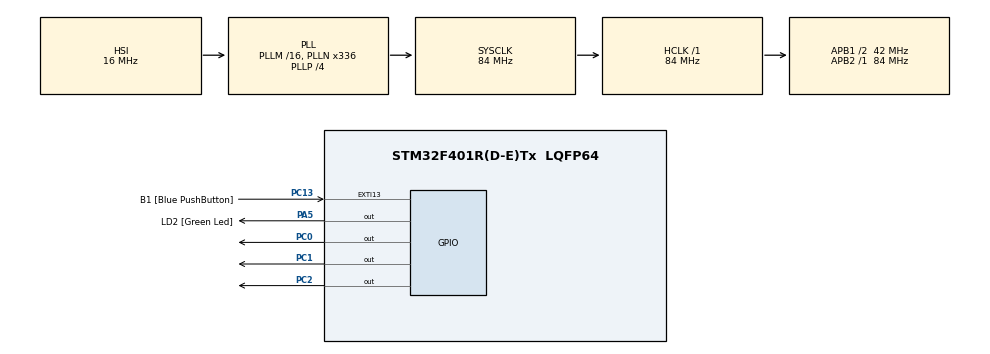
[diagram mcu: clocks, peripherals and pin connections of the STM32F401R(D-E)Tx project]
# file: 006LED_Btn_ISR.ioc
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Mcu.Family=STM32F4
Mcu.Name=STM32F401R(D-E)Tx
Mcu.Package=LQFP64
NVIC.EXTI15_10_IRQn=true\:6\:0\:true\:false\:true\:true\:true\:true
NVIC.PriorityGroup=NVIC_PRIORITYGROUP_4
NVIC.TIM2_IRQn=true\:0\:0\:false\:false\:true\:false\:true\:true
NVIC.TimeBase=TIM2_IRQn
NVIC.TimeBaseIP=TIM2
PA13.GPIO_Label=TMS
PA13.Signal=SYS_JTMS-SWDIO
PA14.GPIO_Label=TCK
PA14.Signal=SYS_JTCK-SWCLK
PA2.GPIO_Label=USART_TX
PA2.GPIO_Mode=GPIO_MODE_AF_PP
PA2.GPIO_PuPd=GPIO_NOPULL
PA2.GPIO_Speed=GPIO_SPEED_FREQ_LOW
PA2.Signal=USART2_TX
PA3.GPIO_Label=USART_RX
PA3.GPIO_Mode=GPIO_MODE_AF_PP
PA3.GPIO_PuPd=GPIO_NOPULL
PA3.GPIO_Speed=GPIO_SPEED_FREQ_LOW
PA3.Signal=USART2_RX
PA5.GPIO_Label=LD2 [Green Led]
PA5.GPIO_Mode=GPIO_MODE_OUTPUT_PP
PA5.GPIO_PuPd=GPIO_NOPULL
PA5.GPIO_Speed=GPIO_SPEED_FREQ_LOW
PA5.Signal=GPIO_Output
PB3.GPIO_Label=SWO
PB3.Signal=SYS_JTDO-SWO
PC0.Signal=GPIO_Output
PC1.Signal=GPIO_Output
PC13-ANTI_TAMP.GPIO_Label=B1 [Blue PushButton]
PC13-ANTI_TAMP.GPIO_ModeDefaultEXTI=GPIO_MODE_IT_FALLING
PC13-ANTI_TAMP.GPIO_PuPd=GPIO_NOPULL
PC13-ANTI_TAMP.Signal=GPXTI13
PC14-OSC32_IN.Signal=RCC_OSC32_IN
PC15-OSC32_OUT.Signal=RCC_OSC32_OUT
PC2.Signal=GPIO_Output
PH0\ -\ OSC_IN.Signal=RCC_OSC_IN
PH1\ -\ OSC_OUT.Signal=RCC_OSC_OUT
ProjectManager.HeapSize=0x200
ProjectManager.StackSize=0x400
ProjectManager.TargetToolchain=STM32CubeIDE
RCC.AHBFreq_Value=84000000
RCC.APB1CLKDivider=RCC_HCLK_DIV2
RCC.APB1Freq_Value=42000000
RCC.APB1TimFreq_Value=84000000
RCC.APB2Freq_Value=84000000
RCC.APB2TimFreq_Value=84000000
RCC.CortexFreq_Value=84000000
RCC.HCLKFreq_Value=84000000
RCC.HSE_VALUE=8000000
RCC.HSI_VALUE=16000000
RCC.LSE_VALUE=32768
RCC.PLLN=336
RCC.PLLP=RCC_PLLP_DIV4
RCC.PLLQ=7
RCC.SYSCLKFreq_VALUE=84000000
RCC.SYSCLKSource=RCC_SYSCLKSOURCE_PLLCLK
RCC.VCOOutputFreq_Value=336000000
VP_SYS_VS_tim2.Mode=TIM2
board=NUCLEO-F401RE

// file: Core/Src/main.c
/* USER CODE BEGIN Header */
/**
  ******************************************************************************
  * @file           : main.c
  * @brief          : Main program body
  ******************************************************************************
  * @attention
  *
  * Copyright (c) 2026 STMicroelectronics.
  * All rights reserved.
  *
  * This software is licensed under terms that can be found in the LICENSE file
  * in the root directory of this software component.
  * If no LICENSE file comes with this software, it is provided AS-IS.
  *
  ******************************************************************************
  */
/* USER CODE END Header */
#include "main.h"

/* USER CODE BEGIN Includes */
#include <stdio.h>
#include "FreeRTOS.h"
#include "task.h"
/* USER CODE END Includes */

/* USER CODE BEGIN PD */
#define DWT_CTRL	(*(volatile uint32_t*)0xE0001000)
/* USER CODE END PD */

void SystemClock_Config(void);
static void MX_GPIO_Init(void);
/* USER CODE BEGIN PFP */
static void led_green_handler(void* parameters);
static void led_orange_handler(void* parameters);
static void led_red_handler(void* parameters);
//static void button_handler(void* parameters);

extern void SEGGER_UART_init(uint32_t);

TaskHandle_t ledg_task_handle;
TaskHandle_t ledo_task_handle;
TaskHandle_t ledr_task_handle;
TaskHandle_t btn_task_handle;

TaskHandle_t volatile next_task_handle = NULL;
/* USER CODE END PFP */

int main(void)
{

  /* USER CODE BEGIN 1 */
	BaseType_t status;
  /* USER CODE END 1 */

  /* MCU Configuration--------------------------------------------------------*/

  /* Reset of all peripherals, Initializes the Flash interface and the Systick. */
  HAL_Init();

  /* Configure the system clock */
  SystemClock_Config();

  /* Initialize all configured peripherals */
  MX_GPIO_Init();
  /* USER CODE BEGIN 2 */

  SEGGER_UART_init(500000);

     //CYCLCNT enable
     DWT_CTRL |= ( 1 << 0);

     //SEGGER_UART_init(500000);

     SEGGER_SYSVIEW_Conf();

     status = xTaskCreate(led_green_handler, "LED_green_task", 200, NULL, 3, &ledg_task_handle);

     configASSERT(status == pdPASS);

     next_task_handle = ledg_task_handle;

     status = xTaskCreate(led_orange_handler, "LED_orange_task", 200, NULL, 2, &ledo_task_handle);

      configASSERT(status == pdPASS);

     status = xTaskCreate(led_red_handler, "LED_red_task", 200,NULL, 1, &ledr_task_handle);

     configASSERT(status == pdPASS);

     //status = xTaskCreate(button_handler, "Button Task", 200, NULL, 4, &btn_task_handle);

     //configASSERT(status == pdPASS);

     //start the freeRTOS scheduler
     vTaskStartScheduler();

  /* USER CODE END 2 */

  /* Infinite loop */
  while (1)
  {

  }
}

void SystemClock_Config(void)
{
  RCC_OscInitTypeDef RCC_OscInitStruct = {0};
  RCC_ClkInitTypeDef RCC_ClkInitStruct = {0};

  /** Configure the main internal regulator output voltage
  */
  __HAL_RCC_PWR_CLK_ENABLE();
  __HAL_PWR_VOLTAGESCALING_CONFIG(PWR_REGULATOR_VOLTAGE_SCALE2);

  /** Initializes the RCC Oscillators according to the specified parameters
  * in the RCC_OscInitTypeDef structure.
  */
  RCC_OscInitStruct.OscillatorType = RCC_OSCILLATORTYPE_HSI;
  RCC_OscInitStruct.HSIState = RCC_HSI_ON;
  RCC_OscInitStruct.HSICalibrationValue = RCC_HSICALIBRATION_DEFAULT;
  RCC_OscInitStruct.PLL.PLLState = RCC_PLL_ON;
  RCC_OscInitStruct.PLL.PLLSource = RCC_PLLSOURCE_HSI;
  RCC_OscInitStruct.PLL.PLLM = 16;
  RCC_OscInitStruct.PLL.PLLN = 336;
  RCC_OscInitStruct.PLL.PLLP = RCC_PLLP_DIV4;
  RCC_OscInitStruct.PLL.PLLQ = 7;
  if (HAL_RCC_OscConfig(&RCC_OscInitStruct) != HAL_OK)
  {
    Error_Handler();
  }

  /** Initializes the CPU, AHB and APB buses clocks
  */
  RCC_ClkInitStruct.ClockType = RCC_CLOCKTYPE_HCLK|RCC_CLOCKTYPE_SYSCLK
                              |RCC_CLOCKTYPE_PCLK1|RCC_CLOCKTYPE_PCLK2;
  RCC_ClkInitStruct.SYSCLKSource = RCC_SYSCLKSOURCE_PLLCLK;
  RCC_ClkInitStruct.AHBCLKDivider = RCC_SYSCLK_DIV1;
  RCC_ClkInitStruct.APB1CLKDivider = RCC_HCLK_DIV2;
  RCC_ClkInitStruct.APB2CLKDivider = RCC_HCLK_DIV1;

  if (HAL_RCC_ClockConfig(&RCC_ClkInitStruct, FLASH_LATENCY_2) != HAL_OK)
  {
    Error_Handler();
  }
}

static void MX_GPIO_Init(void)
{
  GPIO_InitTypeDef GPIO_InitStruct = {0};

  /* GPIO Ports Clock Enable */
  __HAL_RCC_GPIOC_CLK_ENABLE();
  __HAL_RCC_GPIOH_CLK_ENABLE();
  __HAL_RCC_GPIOA_CLK_ENABLE();
  __HAL_RCC_GPIOB_CLK_ENABLE();

  /*Configure GPIO pin Output Level */
  HAL_GPIO_WritePin(GPIOC, GPIO_PIN_0|GPIO_PIN_1|GPIO_PIN_2, GPIO_PIN_RESET);

  /*Configure GPIO pin Output Level */
  HAL_GPIO_WritePin(LD2_GPIO_Port, LD2_Pin, GPIO_PIN_RESET);

  /*Configure GPIO pin : B1_Pin */
  GPIO_InitStruct.Pin = B1_Pin;
  GPIO_InitStruct.Mode = GPIO_MODE_IT_FALLING;
  GPIO_InitStruct.Pull = GPIO_NOPULL;
  HAL_GPIO_Init(B1_GPIO_Port, &GPIO_InitStruct);

  /*Configure GPIO pins : PC0 PC1 PC2 */
  GPIO_InitStruct.Pin = GPIO_PIN_0|GPIO_PIN_1|GPIO_PIN_2;
  GPIO_InitStruct.Mode = GPIO_MODE_OUTPUT_PP;
  GPIO_InitStruct.Pull = GPIO_NOPULL;
  GPIO_InitStruct.Speed = GPIO_SPEED_FREQ_LOW;
  HAL_GPIO_Init(GPIOC, &GPIO_InitStruct);

  /*Configure GPIO pins : USART_TX_Pin USART_RX_Pin */
  GPIO_InitStruct.Pin = USART_TX_Pin|USART_RX_Pin;
  GPIO_InitStruct.Mode = GPIO_MODE_AF_PP;
  GPIO_InitStruct.Pull = GPIO_NOPULL;
  GPIO_InitStruct.Speed = GPIO_SPEED_FREQ_LOW;
  GPIO_InitStruct.Alternate = GPIO_AF7_USART2;
  HAL_GPIO_Init(GPIOA, &GPIO_InitStruct);

  /*Configure GPIO pin : LD2_Pin */
  GPIO_InitStruct.Pin = LD2_Pin;
  GPIO_InitStruct.Mode = GPIO_MODE_OUTPUT_PP;
  GPIO_InitStruct.Pull = GPIO_NOPULL;
  GPIO_InitStruct.Speed = GPIO_SPEED_FREQ_LOW;
  HAL_GPIO_Init(LD2_GPIO_Port, &GPIO_InitStruct);

  /* EXTI interrupt init*/
  HAL_NVIC_SetPriority(EXTI15_10_IRQn, 6, 0);
  HAL_NVIC_EnableIRQ(EXTI15_10_IRQn);

}

/* USER CODE BEGIN 4 */

void button_interrupt_handler(void)
{
	BaseType_t xHigherPriorityTaskWoken;
	xHigherPriorityTaskWoken = pdFALSE;

	//SEGGERde interrupt görüntülemek için
	traceISR_ENTER();
	xTaskNotifyFromISR(next_task_handle,0,eNoAction,&xHigherPriorityTaskWoken);

	portYIELD_FROM_ISR(xHigherPriorityTaskWoken);

	traceISR_EXIT();
}

static void led_green_handler(void* parameters)
{
	BaseType_t  status;
	while(1)
	{
		SEGGER_SYSVIEW_PrintfTarget("Toggling green LED");
		HAL_GPIO_TogglePin(GPIOC, GPIO_PIN_0);
		status = xTaskNotifyWait(0,0,NULL,pdMS_TO_TICKS(1000));
		if(status == pdTRUE){
			portENTER_CRITICAL();
			next_task_handle = ledo_task_handle;
			HAL_GPIO_WritePin(GPIOC, GPIO_PIN_0,GPIO_PIN_SET);
			SEGGER_SYSVIEW_PrintfTarget("Delete green LED task");
			portEXIT_CRITICAL();
			vTaskDelete(NULL);
		}

	}
}

static void led_orange_handler(void* parameters)
{
	BaseType_t  status;

	while(1)
	{
		SEGGER_SYSVIEW_PrintfTarget("Toggling orange LED");
		HAL_GPIO_TogglePin(GPIOC, GPIO_PIN_1);
		status = xTaskNotifyWait(0,0,NULL,pdMS_TO_TICKS(800));
		if(status == pdTRUE){
			portENTER_CRITICAL();
			next_task_handle = ledr_task_handle;
			HAL_GPIO_WritePin(GPIOC, GPIO_PIN_1,GPIO_PIN_SET);
			SEGGER_SYSVIEW_PrintfTarget("Delete orange LED task");
			portEXIT_CRITICAL();
			vTaskDelete(NULL);
		}

	}
}

static void led_red_handler(void* parameters)
{
	BaseType_t  status;

	while(1)
	{
		SEGGER_SYSVIEW_PrintfTarget("Toggling red LED");
		HAL_GPIO_TogglePin(GPIOC, GPIO_PIN_2);
		status = xTaskNotifyWait(0,0,NULL,pdMS_TO_TICKS(400));
		if(status == pdTRUE){
			portENTER_CRITICAL();
			next_task_handle = NULL;
			HAL_GPIO_WritePin(GPIOC, GPIO_PIN_2,GPIO_PIN_SET);
			SEGGER_SYSVIEW_PrintfTarget("Delete red LED task");
			vTaskDelete(btn_task_handle);
			portEXIT_CRITICAL();
			vTaskDelete(NULL);
		}

	}

}

/* USER CODE END 4 */

void HAL_TIM_PeriodElapsedCallback(TIM_HandleTypeDef *htim)
{
  if (htim->Instance == TIM2) {
    HAL_IncTick();
  }
}

void Error_Handler(void)
{
  __disable_irq();
  while (1)
  {
  }
}
